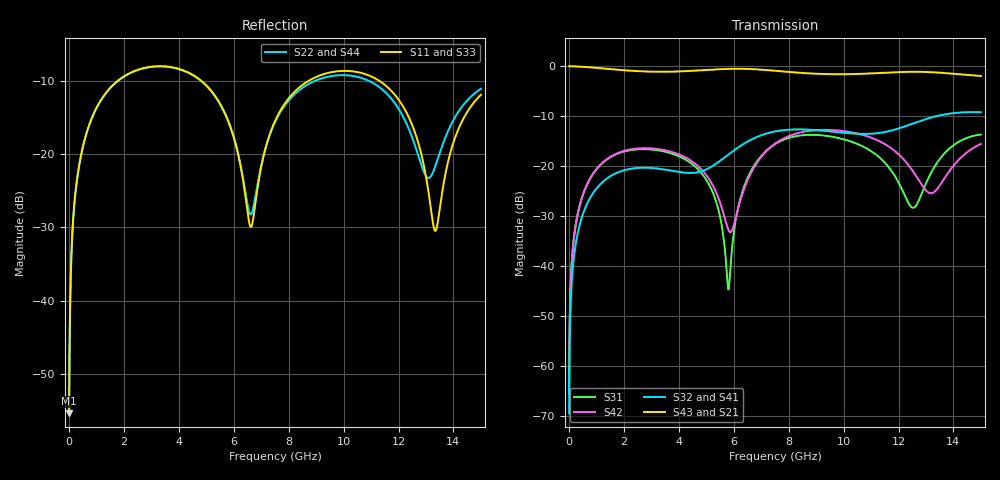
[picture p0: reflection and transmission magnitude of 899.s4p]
! Created with skrf 1.8.0 (http://scikit-rf.org).
# GHz S RI R 50.0
!freq ReS11 ImS11 ReS12 ImS12 ReS13 ImS13
! ReS14 ImS14
! ReS21 ImS21 ReS22 ImS22 ReS23 ImS23
! ReS24 ImS24
! ReS31 ImS31 ReS32 ImS32 ReS33 ImS33
! ReS34 ImS34
! ReS41 ImS41 ReS42 ImS42 ReS43 ImS43
! ReS44 ImS44
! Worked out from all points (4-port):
!   2499 points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, 5 MHz to 15 GHz, reference 50 ohm
!   strongest paths, dB at 5 MHz, 3.476 GHz, 7.19 GHz, 11.1 GHz, 15 GHz:
!     S43: 0.0, -1.1, -0.8, -1.4, -2.0
!     S21: 0.0, -1.1, -0.8, -1.4, -2.0
!     S32: -69.4, -20.7, -13.5, -13.5, -9.2
!     S41: -69.4, -20.7, -13.5, -13.5, -9.2
!     S42: -65.5, -16.8, -17.0, -14.5, -15.6
!     S31: -65.5, -17.1, -16.9, -17.4, -13.7
!   lowest |S11| = -55.3 dB at 5 MHz (marker M1), VSWR 1.00, Z = 50.1 + j0.104 ohm
!   |S11| at or under -10 dB: start of sweep to 1.78 GHz; 4.818 GHz to 8.732 GHz (3.914 GHz wide, 57.8 % of centre); 11.3 GHz to end of sweep
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0.005  0.00136 0.00104  0.9986 -0.00265  6.7e-05 0.000526  -6.53e-05 -0.000331
       0.9986 -0.00265  0.00136 0.00104  -6.53e-05 -0.000331  6.71e-05 0.000526
       6.7e-05 0.000526  -6.53e-05 -0.000331  0.00136 0.00104  0.9986 -0.00265
       -6.53e-05 -0.000331  6.71e-05 0.000526  0.9986 -0.00265  0.00136 0.00104
0.3626511  0.022 0.0791  0.9699 -0.1912  0.00973 0.0364  -0.00829 -0.0227
           0.9699 -0.1912  0.0219 0.0791  -0.00829 -0.0227  0.0101 0.0363
           0.00973 0.0364  -0.00829 -0.0227  0.022 0.0791  0.9699 -0.1912
           -0.00829 -0.0227  0.0101 0.0363  0.9699 -0.1912  0.0219 0.0791
1.619545  0.2279 0.1914  0.6379 -0.673  0.1054 0.0719  -0.08 -0.02
          0.6379 -0.673  0.2264 0.1922  -0.0801 -0.02  0.1103 0.0667
          0.1054 0.0719  -0.0801 -0.02  0.2279 0.1913  0.638 -0.673
          -0.08 -0.02  0.1103 0.0667  0.638 -0.673  0.2264 0.1922
5.80867  0.0848 -0.1437  -0.8384 -0.4198  -0.00548 -0.00202  -0.0546 0.1188
         -0.8384 -0.4198  0.0911 -0.1377  -0.0547 0.1187  -0.0197 -0.0119
         -0.00548 -0.00202  -0.0547 0.1187  0.0832 -0.1426  -0.8387 -0.4197
         -0.0546 0.1188  -0.0197 -0.0119  -0.8387 -0.4197  0.0912 -0.1359
6.615256  0.0316 -0.00431  -0.9332 -0.0494  0.00448 0.088  -0.00484 0.1826
          -0.9332 -0.0494  0.0386 -0.00321  -0.00505 0.1827  0.00234 0.0842
          0.00448 0.088  -0.00505 0.1827  0.0302 -0.00249  -0.9332 -0.0492
          -0.00484 0.1826  0.00234 0.0842  -0.9332 -0.0492  0.0398 -0.00133
10.69821  0.3356 -0.117  0.1661 0.8213  0.149 -0.0505  0.182 -0.1039
          0.1661 0.8213  0.3177 -0.0823  0.1822 -0.1041  0.1305 -0.1582
          0.149 -0.0505  0.1822 -0.1041  0.3352 -0.1152  0.1647 0.8219
          0.182 -0.1039  0.1305 -0.1582  0.1647 0.8219  0.3172 -0.0824
15  0.2062 0.1481  0.6219 -0.4998  0.2016 0.0461  -0.2584 -0.2286
    0.6219 -0.4998  0.2474 0.1287  -0.2592 -0.2292  0.1626 0.0368
    0.2016 0.0461  -0.2592 -0.2292  0.2041 0.1553  0.6232 -0.4963
    -0.2584 -0.2286  0.1626 0.0368  0.6232 -0.4963  0.2532 0.1292
